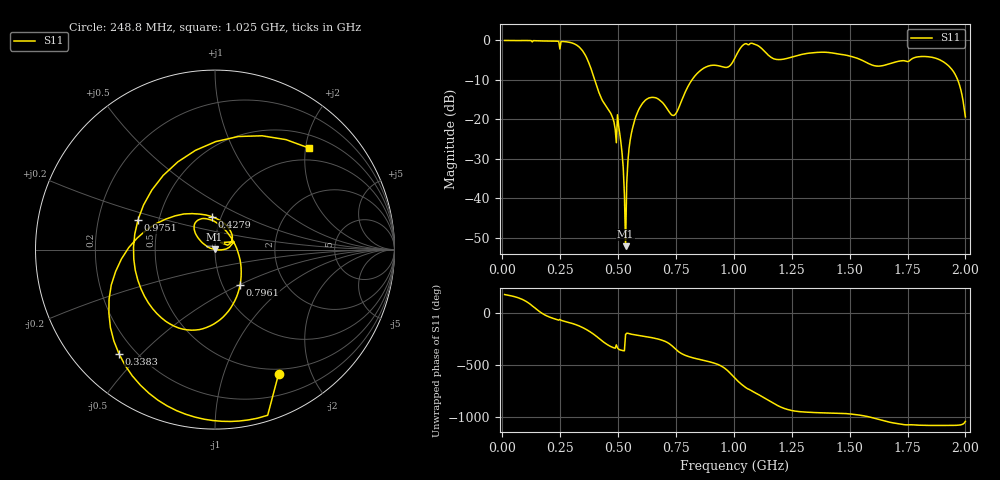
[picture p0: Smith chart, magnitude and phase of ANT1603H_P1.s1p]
!Created with skrf (http://scikit-rf.org).
# Hz S RI R 50.0
!freq ReS11 ImS11
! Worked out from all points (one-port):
!   401 points, 10 MHz to 2 GHz, reference 50 ohm
!   lowest |S11| = -52.2 dB at 532.4 MHz (marker M1), VSWR 1.00, Z = 49.8 + j0.118 ohm
!   |S11| at or under -10 dB: 399.1 MHz to 819.3 MHz (420.3 MHz wide, 69 % of centre); 1.967 GHz to end of sweep
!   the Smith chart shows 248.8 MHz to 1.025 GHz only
!   S11 on the Smith chart (normalised r, x): 248.8 MHz: 0.44, -1.55; 338.4 MHz: 0.14, -0.43; 427.9 MHz: 0.90, +0.34; 796 MHz: 1.21, -0.50; 975.1 MHz: 0.38, +0.16; 1.025 GHz: 0.74, +2.07
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1e7  -0.9953 0.0707
7.4675e7  -0.7628 0.6393
1.1945e8  0.0874 0.9901
1.64225e8  0.9793 0.1139
2.04025e8  0.738 -0.6447
2.488e8  0.3547 -0.6917
2.5875e8  0.2346 -0.9399
3.3835e8  -0.5352 -0.5797
3.881e8  -0.3817 0.1097
4.279e8  -0.017 0.1833
5.075e8  0.0648 0.00453
5.32375e8  -0.00215 0.00118
5.5725e8  -0.059 0.0287
6.02025e8  -0.1134 0.1033
7.5625e8  0.1271 -0.0112
7.9605e8  0.1401 -0.1959
9.055e8  -0.2262 -0.427
9.7515e8  -0.4292 0.1657
1.005e9  0.00408 0.6018
1.0249e9  0.5238 0.5657
1.059725e9  0.8662 -0.1809
1.11445e9  0.1784 -0.7969
1.17415e9  -0.5256 -0.2485
1.25375e9  -0.4588 0.4134
1.5025e9  -0.1736 0.6054
1.75125e9  0.5374 0.0155
1.925375e9  0.4802 -0.0361
2e9  0.0879 0.0612
